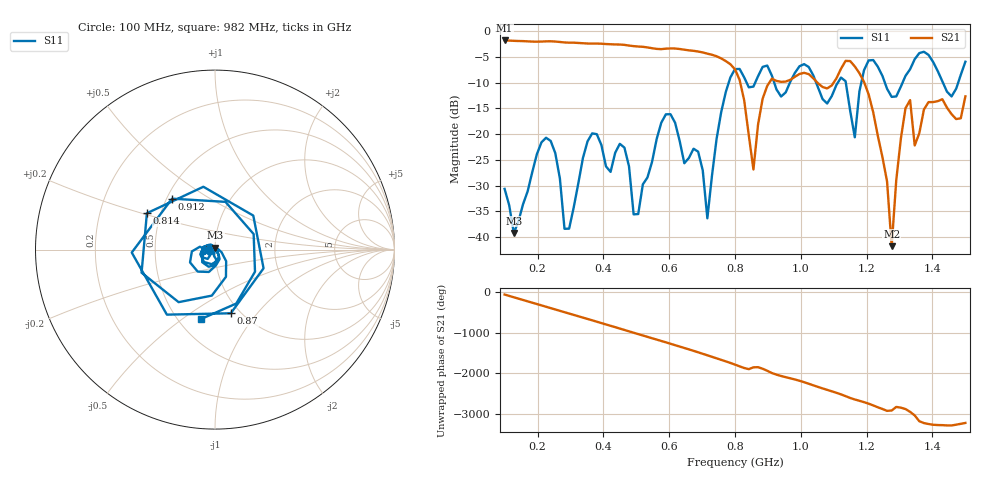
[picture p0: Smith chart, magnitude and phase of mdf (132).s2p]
! NanoVNA-App
! Date: 2025-09-26 09:40:46
! Start: 100MHz Stop: 1,5GHz Points: 101
! S-Parameter data: F S11 S21 S12 S22
# Hz S RI R 50
!  Frequency  S11_Real  S11_Imag  S21_Real  S21_Imag  S12_Real  S12_Imag  S22_Real  S22_Imag
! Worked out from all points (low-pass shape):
!   101 points, 100 MHz to 1.5 GHz, reference 50 ohm
!   highest |S21| = -1.79 dB at 100 MHz (marker M1); lowest = -41.8 dB at 1.276 GHz (marker M2)
!   |S21| within 3 dB of the highest: start of sweep to 740.7 MHz
!   lowest |S11| = -39.2 dB at 128 MHz (marker M3), VSWR 1.02, Z = 50.3 + j1.07 ohm
!   |S11| at or under -10 dB: start of sweep to 780.9 MHz; 1.047 GHz to 1.112 GHz (65.75 MHz wide, 6.09 % of centre); 1.255 GHz to 1.309 GHz (53.62 MHz wide, 4.18 % of centre)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
!   S12 and S22 are empty: the file has one direction only
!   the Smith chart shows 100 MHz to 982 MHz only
!   S11 on the Smith chart (normalised r, x): 100 MHz: 0.94, -0.01; 814 MHz: 0.42, +0.21; 870 MHz: 0.90, -0.74; 912 MHz: 0.53, +0.35; 982 MHz: 0.64, -0.59
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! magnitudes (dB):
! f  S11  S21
! 100 MHz  -30.6  -1.8
! 128 MHz  -39.2  -1.9
! 212 MHz  -21.6  -2.0
! 282 MHz  -38.4  -2.2
! 338 MHz  -24.6  -2.3
! 464 MHz  -22.6  -2.6
! 506 MHz  -35.5  -3.0
! 576 MHz  -17.8  -3.5
! 688 MHz  -23.4  -3.9
! 716 MHz  -36.3  -4.4
! 800 MHz  -7.4  -7.4
! 814 MHz  -7.3  -9.4
! 856 MHz  -10.8  -26.9
! 870 MHz  -8.7  -18.1
! 912 MHz  -8.6  -9.2
! 982 MHz  -8.1  -8.8
! 1.038 GHz  -8.6  -9.1
! 1.164 GHz  -20.6  -6.8
! 1.192 GHz  -7.6  -9.8
! 1.276 GHz  -12.7  -41.8
! 1.318 GHz  -8.7  -15.0
! 1.5 GHz  -5.9  -12.6
